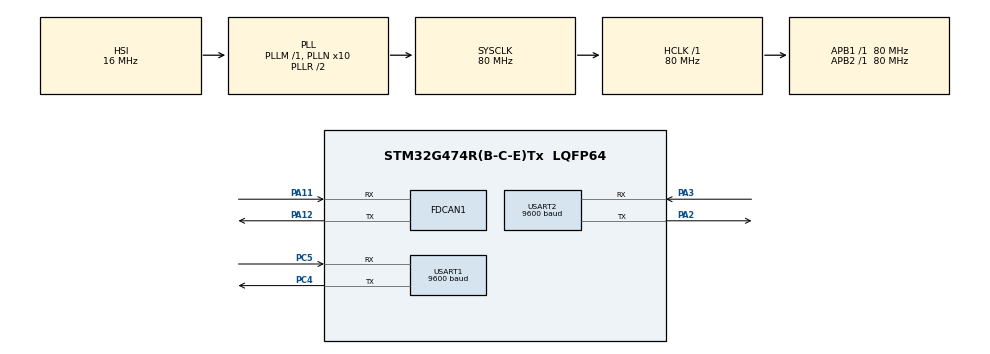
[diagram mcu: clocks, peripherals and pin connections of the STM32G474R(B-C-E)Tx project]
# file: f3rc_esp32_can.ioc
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FDCAN1.CalculateBaudRateNominal=1000000
FDCAN1.CalculateTimeBitNominal=1000
FDCAN1.CalculateTimeQuantumNominal=50.0
FDCAN1.DataPrescaler=2
FDCAN1.DataTimeSeg1=15
FDCAN1.DataTimeSeg2=4
FDCAN1.FrameFormat=FDCAN_FRAME_FD_BRS
FDCAN1.NominalPrescaler=4
FDCAN1.NominalTimeSeg1=15
FDCAN1.NominalTimeSeg2=4
FDCAN1.StdFiltersNbr=1
Mcu.Family=STM32G4
Mcu.Name=STM32G474R(B-C-E)Tx
Mcu.Package=LQFP64
NVIC.FDCAN1_IT0_IRQn=true\:0\:0\:false\:false\:true\:true\:true\:true
NVIC.FDCAN1_IT1_IRQn=true\:0\:0\:false\:false\:true\:true\:true\:true
NVIC.PriorityGroup=NVIC_PRIORITYGROUP_4
NVIC.USART1_IRQn=true\:0\:0\:false\:false\:true\:true\:true\:true
PA11.Mode=FDCAN_Activate
PA11.Signal=FDCAN1_RX
PA12.Mode=FDCAN_Activate
PA12.Signal=FDCAN1_TX
PA2.Mode=Asynchronous
PA2.Signal=USART2_TX
PA3.Mode=Asynchronous
PA3.Signal=USART2_RX
PC4.Mode=Asynchronous
PC4.Signal=USART1_TX
PC5.Mode=Asynchronous
PC5.Signal=USART1_RX
ProjectManager.HeapSize=0x200
ProjectManager.StackSize=0x400
ProjectManager.TargetToolchain=STM32CubeIDE
RCC.ADC12Freq_Value=80000000
RCC.ADC345Freq_Value=80000000
RCC.AHBFreq_Value=80000000
RCC.APB1Freq_Value=80000000
RCC.APB1TimFreq_Value=80000000
RCC.APB2Freq_Value=80000000
RCC.APB2TimFreq_Value=80000000
RCC.CortexFreq_Value=80000000
RCC.EXTERNAL_CLOCK_VALUE=12288000
RCC.HCLKFreq_Value=80000000
RCC.HSE_VALUE=8000000
RCC.HSI48_VALUE=48000000
RCC.HSI_VALUE=16000000
RCC.LSE_VALUE=32768
RCC.PLLN=10
RCC.SYSCLKFreq_VALUE=80000000
RCC.SYSCLKSource=RCC_SYSCLKSOURCE_PLLCLK
RCC.USBFreq_Value=80000000
RCC.VCOOutputFreq_Value=160000000
USART1.BaudRate=9600
USART1.VirtualMode-Asynchronous=VM_ASYNC
USART2.BaudRate=9600
USART2.VirtualMode-Asynchronous=VM_ASYNC
VP_SYS_VS_DBSignals.Mode=DisableDeadBatterySignals
board=custom

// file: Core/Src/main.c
/* USER CODE BEGIN Header */
/**
  ******************************************************************************
  * @file           : main.c
  * @brief          : Main program body
  ******************************************************************************
  * @attention
  *
  * Copyright (c) 2024 STMicroelectronics.
  * All rights reserved.
  *
  * This software is licensed under terms that can be found in the LICENSE file
  * in the root directory of this software component.
  * If no LICENSE file comes with this software, it is provided AS-IS.
  *
  ******************************************************************************
  */
/* USER CODE END Header */
#include "main.h"

/* USER CODE BEGIN Includes */
#include <stdio.h>
#include <string.h>
/* USER CODE END Includes */

/* USER CODE BEGIN PM */
FDCAN_TxHeaderTypeDef TxHeader;
FDCAN_RxHeaderTypeDef RxHeader;
FDCAN_FilterTypeDef sFilterConfig;

uint8_t TxData1[8] = {};
uint8_t TxData2[8]={};
uint8_t RxData[8] = {};
uint32_t TxMailbox;

uint8_t buffer[1] = {};
uint8_t size = 1;
int8_t datapos=-1;
uint8_t data[9];
uint16_t FIRSTCANID = 0x300;
uint16_t SECONDCANID = 0x301;
/* USER CODE END PM */

FDCAN_HandleTypeDef hfdcan1;

UART_HandleTypeDef huart1;
UART_HandleTypeDef huart2;

void SystemClock_Config(void);
static void MX_GPIO_Init(void);
static void MX_FDCAN1_Init(void);
static void MX_USART1_UART_Init(void);
static void MX_USART2_UART_Init(void);

/* USER CODE BEGIN 0 */
void HAL_UART_RxCpltCallback(UART_HandleTypeDef *huart)
{

    if(buffer[0] == 0xff){
    	datapos=0;
    }else if(datapos>=0){
        data[datapos++]=buffer[0];
    }
    if(datapos>=9){
    	memcpy(TxData1,data,8);
    	TxData2[0]= data[8];
        datapos=-1;
    }

	HAL_UART_Receive_IT(&huart1, buffer, size);
}
void HAL_UART_ErrorCallback(UART_HandleTypeDef *huart){
	printf("uart_error\r\n");
	HAL_UART_Abort(huart);
	HAL_UART_Receive_IT(&huart1, buffer, size);
	datapos=-1;
}

void FDCAN_RxTxSettings(void){
	FDCAN_FilterTypeDef FDCAN_Filter_settings;
	FDCAN_Filter_settings.IdType = FDCAN_STANDARD_ID;
	FDCAN_Filter_settings.FilterIndex = 0;
	FDCAN_Filter_settings.FilterType = FDCAN_FILTER_RANGE;
	FDCAN_Filter_settings.FilterConfig = FDCAN_FILTER_TO_RXFIFO0;
	FDCAN_Filter_settings.FilterID1 = 0x200;
	FDCAN_Filter_settings.FilterID2 = 0x310;

	TxHeader.Identifier = FIRSTCANID;
	TxHeader.IdType = FDCAN_STANDARD_ID;
	TxHeader.TxFrameType = FDCAN_DATA_FRAME;
	TxHeader.DataLength = FDCAN_DLC_BYTES_8;
	TxHeader.ErrorStateIndicator = FDCAN_ESI_ACTIVE;
	TxHeader.BitRateSwitch = FDCAN_BRS_ON;
	TxHeader.FDFormat = FDCAN_FD_CAN;
	TxHeader.TxEventFifoControl = FDCAN_NO_TX_EVENTS;
	TxHeader.MessageMarker = 0;

	if (HAL_FDCAN_ConfigFilter(&hfdcan1, &FDCAN_Filter_settings) != HAL_OK){
		printf("fdcan_configfilter is error\r\n");
		Error_Handler();
	}

	if (HAL_FDCAN_ConfigGlobalFilter(&hfdcan1, FDCAN_REJECT, FDCAN_FILTER_REJECT, FDCAN_FILTER_REMOTE, FDCAN_FILTER_REMOTE) != HAL_OK){
		printf("fdcan_configglobalfilter is error\r\n");
		Error_Handler();
	}

	if (HAL_FDCAN_Start(&hfdcan1) != HAL_OK) {
		printf("fdcan_start is error\r\n");
		Error_Handler();
	}

	if (HAL_FDCAN_ActivateNotification(&hfdcan1, FDCAN_IT_RX_FIFO0_NEW_MESSAGE, 0) != HAL_OK){
		printf("fdcan_activatenotification is error\r\n");
		Error_Handler();
	}
}

int _write(int file, char *ptr, int len)
{
    HAL_UART_Transmit(&huart2,(uint8_t *)ptr,len,10);
    return len;
}
/* USER CODE END 0 */

int main(void)
{

  /* USER CODE BEGIN 1 */
	setbuf(stdout, NULL);

  /* USER CODE END 1 */

  /* MCU Configuration--------------------------------------------------------*/

  /* Reset of all peripherals, Initializes the Flash interface and the Systick. */
  HAL_Init();

  /* Configure the system clock */
  SystemClock_Config();

  /* Initialize all configured peripherals */
  MX_GPIO_Init();
  MX_FDCAN1_Init();
  MX_USART1_UART_Init();
  MX_USART2_UART_Init();

  /* Infinite loop */
  /* USER CODE BEGIN WHILE */
  printf("start\r\n");
  FDCAN_RxTxSettings();
  printf("can_start");
  HAL_UART_Receive_IT(&huart1, buffer, size);
  while (1)
  {
	  printf("(%d,%d)\r\n",(int8_t)TxData1[0], (int8_t)TxData1[1]);
	  TxHeader.Identifier = FIRSTCANID;
	  if (HAL_FDCAN_AddMessageToTxFifoQ(&hfdcan1, &TxHeader, TxData1) != HAL_OK){
		  printf("addmessage1 is error\r\n");
		  Error_Handler();
	  }
	  TxHeader.Identifier = SECONDCANID;
	  if (HAL_FDCAN_AddMessageToTxFifoQ(&hfdcan1, &TxHeader, TxData2) != HAL_OK){
	      printf("addmessage2 is error\r\n");
	  	  Error_Handler();
	  }
	  HAL_Delay(1);
    /* USER CODE END WHILE */

  }
}

void SystemClock_Config(void)
{
  RCC_OscInitTypeDef RCC_OscInitStruct = {0};
  RCC_ClkInitTypeDef RCC_ClkInitStruct = {0};

  /** Configure the main internal regulator output voltage
  */
  HAL_PWREx_ControlVoltageScaling(PWR_REGULATOR_VOLTAGE_SCALE1);

  /** Initializes the RCC Oscillators according to the specified parameters
  * in the RCC_OscInitTypeDef structure.
  */
  RCC_OscInitStruct.OscillatorType = RCC_OSCILLATORTYPE_HSI;
  RCC_OscInitStruct.HSIState = RCC_HSI_ON;
  RCC_OscInitStruct.HSICalibrationValue = RCC_HSICALIBRATION_DEFAULT;
  RCC_OscInitStruct.PLL.PLLState = RCC_PLL_ON;
  RCC_OscInitStruct.PLL.PLLSource = RCC_PLLSOURCE_HSI;
  RCC_OscInitStruct.PLL.PLLM = RCC_PLLM_DIV1;
  RCC_OscInitStruct.PLL.PLLN = 10;
  RCC_OscInitStruct.PLL.PLLP = RCC_PLLP_DIV2;
  RCC_OscInitStruct.PLL.PLLQ = RCC_PLLQ_DIV2;
  RCC_OscInitStruct.PLL.PLLR = RCC_PLLR_DIV2;
  if (HAL_RCC_OscConfig(&RCC_OscInitStruct) != HAL_OK)
  {
    Error_Handler();
  }

  /** Initializes the CPU, AHB and APB buses clocks
  */
  RCC_ClkInitStruct.ClockType = RCC_CLOCKTYPE_HCLK|RCC_CLOCKTYPE_SYSCLK
                              |RCC_CLOCKTYPE_PCLK1|RCC_CLOCKTYPE_PCLK2;
  RCC_ClkInitStruct.SYSCLKSource = RCC_SYSCLKSOURCE_PLLCLK;
  RCC_ClkInitStruct.AHBCLKDivider = RCC_SYSCLK_DIV1;
  RCC_ClkInitStruct.APB1CLKDivider = RCC_HCLK_DIV1;
  RCC_ClkInitStruct.APB2CLKDivider = RCC_HCLK_DIV1;

  if (HAL_RCC_ClockConfig(&RCC_ClkInitStruct, FLASH_LATENCY_2) != HAL_OK)
  {
    Error_Handler();
  }
}

static void MX_FDCAN1_Init(void)
{

  hfdcan1.Instance = FDCAN1;
  hfdcan1.Init.ClockDivider = FDCAN_CLOCK_DIV1;
  hfdcan1.Init.FrameFormat = FDCAN_FRAME_FD_BRS;
  hfdcan1.Init.Mode = FDCAN_MODE_NORMAL;
  hfdcan1.Init.AutoRetransmission = DISABLE;
  hfdcan1.Init.TransmitPause = DISABLE;
  hfdcan1.Init.ProtocolException = DISABLE;
  hfdcan1.Init.NominalPrescaler = 4;
  hfdcan1.Init.NominalSyncJumpWidth = 1;
  hfdcan1.Init.NominalTimeSeg1 = 15;
  hfdcan1.Init.NominalTimeSeg2 = 4;
  hfdcan1.Init.DataPrescaler = 2;
  hfdcan1.Init.DataSyncJumpWidth = 1;
  hfdcan1.Init.DataTimeSeg1 = 15;
  hfdcan1.Init.DataTimeSeg2 = 4;
  hfdcan1.Init.StdFiltersNbr = 1;
  hfdcan1.Init.ExtFiltersNbr = 0;
  hfdcan1.Init.TxFifoQueueMode = FDCAN_TX_FIFO_OPERATION;
  if (HAL_FDCAN_Init(&hfdcan1) != HAL_OK)
  {
    Error_Handler();
  }

}

static void MX_USART1_UART_Init(void)
{

  huart1.Instance = USART1;
  huart1.Init.BaudRate = 9600;
  huart1.Init.WordLength = UART_WORDLENGTH_8B;
  huart1.Init.StopBits = UART_STOPBITS_1;
  huart1.Init.Parity = UART_PARITY_NONE;
  huart1.Init.Mode = UART_MODE_TX_RX;
  huart1.Init.HwFlowCtl = UART_HWCONTROL_NONE;
  huart1.Init.OverSampling = UART_OVERSAMPLING_16;
  huart1.Init.OneBitSampling = UART_ONE_BIT_SAMPLE_DISABLE;
  huart1.Init.ClockPrescaler = UART_PRESCALER_DIV1;
  huart1.AdvancedInit.AdvFeatureInit = UART_ADVFEATURE_NO_INIT;
  if (HAL_UART_Init(&huart1) != HAL_OK)
  {
    Error_Handler();
  }
  if (HAL_UARTEx_SetTxFifoThreshold(&huart1, UART_TXFIFO_THRESHOLD_1_8) != HAL_OK)
  {
    Error_Handler();
  }
  if (HAL_UARTEx_SetRxFifoThreshold(&huart1, UART_RXFIFO_THRESHOLD_1_8) != HAL_OK)
  {
    Error_Handler();
  }
  if (HAL_UARTEx_DisableFifoMode(&huart1) != HAL_OK)
  {
    Error_Handler();
  }

}

static void MX_USART2_UART_Init(void)
{

  huart2.Instance = USART2;
  huart2.Init.BaudRate = 9600;
  huart2.Init.WordLength = UART_WORDLENGTH_8B;
  huart2.Init.StopBits = UART_STOPBITS_1;
  huart2.Init.Parity = UART_PARITY_NONE;
  huart2.Init.Mode = UART_MODE_TX_RX;
  huart2.Init.HwFlowCtl = UART_HWCONTROL_NONE;
  huart2.Init.OverSampling = UART_OVERSAMPLING_16;
  huart2.Init.OneBitSampling = UART_ONE_BIT_SAMPLE_DISABLE;
  huart2.Init.ClockPrescaler = UART_PRESCALER_DIV1;
  huart2.AdvancedInit.AdvFeatureInit = UART_ADVFEATURE_NO_INIT;
  if (HAL_UART_Init(&huart2) != HAL_OK)
  {
    Error_Handler();
  }
  if (HAL_UARTEx_SetTxFifoThreshold(&huart2, UART_TXFIFO_THRESHOLD_1_8) != HAL_OK)
  {
    Error_Handler();
  }
  if (HAL_UARTEx_SetRxFifoThreshold(&huart2, UART_RXFIFO_THRESHOLD_1_8) != HAL_OK)
  {
    Error_Handler();
  }
  if (HAL_UARTEx_DisableFifoMode(&huart2) != HAL_OK)
  {
    Error_Handler();
  }

}

static void MX_GPIO_Init(void)
{

  /* GPIO Ports Clock Enable */
  __HAL_RCC_GPIOA_CLK_ENABLE();
  __HAL_RCC_GPIOC_CLK_ENABLE();

}

void Error_Handler(void)
{
  /* USER CODE BEGIN Error_Handler_Debug */
  /* User can add his own implementation to report the HAL error return state */
  __disable_irq();
  printf("Error\r\n");
  while (1)
  {
  }
  /* USER CODE END Error_Handler_Debug */
}
